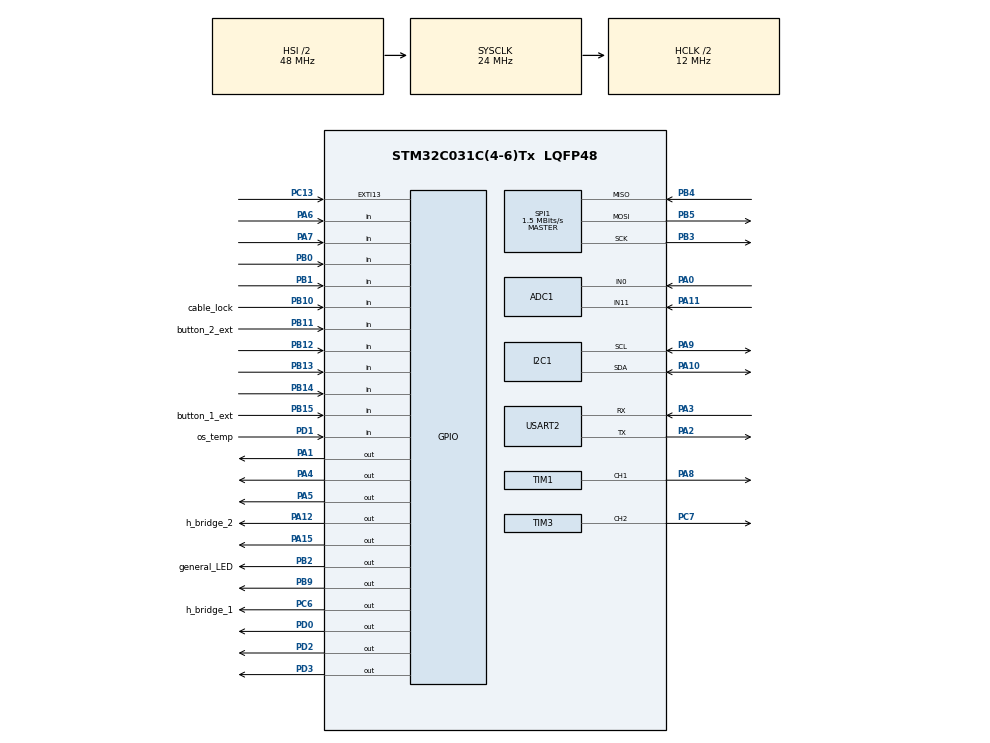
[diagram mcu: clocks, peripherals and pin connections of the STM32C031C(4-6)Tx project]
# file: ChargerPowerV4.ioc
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ADC1.ContinuousConvMode=ENABLE
ADC1.DMAContinuousRequests=ENABLE
ADC1.NbrOfConversionFlag=0
ADC1.Overrun=ADC_OVR_DATA_OVERWRITTEN
ADC1.SamplingTimeCommon1=ADC_SAMPLETIME_160CYCLES_5
ADC1.SelectedChannel=ADC_CHANNEL_0|ADC_CHANNEL_11
ADC1.Sequencer=NOT_FULLY_CONFIGURABLE
ADC1.master=1
Dma.ADC1.0.Direction=DMA_PERIPH_TO_MEMORY
Dma.ADC1.0.EventEnable=DISABLE
Dma.ADC1.0.Instance=DMA1_Channel1
Dma.ADC1.0.MemDataAlignment=DMA_MDATAALIGN_HALFWORD
Dma.ADC1.0.MemInc=DMA_MINC_ENABLE
Dma.ADC1.0.Mode=DMA_CIRCULAR
Dma.ADC1.0.PeriphDataAlignment=DMA_PDATAALIGN_HALFWORD
Dma.ADC1.0.PeriphInc=DMA_PINC_DISABLE
Dma.ADC1.0.Polarity=HAL_DMAMUX_REQ_GEN_RISING
Dma.ADC1.0.Priority=DMA_PRIORITY_MEDIUM
Dma.ADC1.0.RequestNumber=1
Dma.ADC1.0.SignalID=NONE
Dma.ADC1.0.SyncEnable=DISABLE
Dma.ADC1.0.SyncPolarity=HAL_DMAMUX_SYNC_NO_EVENT
Dma.ADC1.0.SyncRequestNumber=1
Dma.ADC1.0.SyncSignalID=NONE
Dma.Request0=ADC1
Dma.Request1=USART2_RX
Dma.Request2=USART2_TX
Dma.USART2_RX.1.Direction=DMA_PERIPH_TO_MEMORY
Dma.USART2_RX.1.EventEnable=DISABLE
Dma.USART2_RX.1.Instance=DMA1_Channel2
Dma.USART2_RX.1.MemDataAlignment=DMA_MDATAALIGN_BYTE
Dma.USART2_RX.1.MemInc=DMA_MINC_ENABLE
Dma.USART2_RX.1.Mode=DMA_CIRCULAR
Dma.USART2_RX.1.PeriphDataAlignment=DMA_PDATAALIGN_BYTE
Dma.USART2_RX.1.PeriphInc=DMA_PINC_DISABLE
Dma.USART2_RX.1.Polarity=HAL_DMAMUX_REQ_GEN_RISING
Dma.USART2_RX.1.Priority=DMA_PRIORITY_HIGH
Dma.USART2_RX.1.RequestNumber=1
Dma.USART2_RX.1.SignalID=NONE
Dma.USART2_RX.1.SyncEnable=DISABLE
Dma.USART2_RX.1.SyncPolarity=HAL_DMAMUX_SYNC_NO_EVENT
Dma.USART2_RX.1.SyncRequestNumber=1
Dma.USART2_RX.1.SyncSignalID=NONE
Dma.USART2_TX.2.Direction=DMA_MEMORY_TO_PERIPH
Dma.USART2_TX.2.EventEnable=DISABLE
Dma.USART2_TX.2.Instance=DMA1_Channel3
Dma.USART2_TX.2.MemDataAlignment=DMA_MDATAALIGN_BYTE
Dma.USART2_TX.2.MemInc=DMA_MINC_ENABLE
Dma.USART2_TX.2.Mode=DMA_NORMAL
Dma.USART2_TX.2.PeriphDataAlignment=DMA_PDATAALIGN_BYTE
Dma.USART2_TX.2.PeriphInc=DMA_PINC_DISABLE
Dma.USART2_TX.2.Polarity=HAL_DMAMUX_REQ_GEN_RISING
Dma.USART2_TX.2.Priority=DMA_PRIORITY_LOW
Dma.USART2_TX.2.RequestNumber=1
Dma.USART2_TX.2.SignalID=NONE
Dma.USART2_TX.2.SyncEnable=DISABLE
Dma.USART2_TX.2.SyncPolarity=HAL_DMAMUX_SYNC_NO_EVENT
Dma.USART2_TX.2.SyncRequestNumber=1
Dma.USART2_TX.2.SyncSignalID=NONE
I2C1.Timing=0x0020171D
IWDG.Prescaler=IWDG_PRESCALER_64
Mcu.Family=STM32C0
Mcu.Name=STM32C031C(4-6)Tx
Mcu.Package=LQFP48
NVIC.DMA1_Channel1_IRQn=true\:1\:0\:true\:false\:true\:false\:true\:true
NVIC.DMA1_Channel2_3_IRQn=true\:1\:0\:true\:false\:true\:false\:true\:true
NVIC.EXTI4_15_IRQn=true\:0\:0\:false\:false\:true\:true\:true\:true
NVIC.TIM17_IRQn=true\:2\:0\:true\:false\:true\:true\:true\:true
NVIC.USART2_IRQn=true\:1\:0\:true\:false\:true\:true\:true\:true
PA0.Mode=IN0
PA0.Signal=ADC1_IN0
PA1.Signal=GPIO_Output
PA10.Mode=I2C
PA10.Signal=I2C1_SDA
PA11\ [PA9].Mode=IN11
PA11\ [PA9].Signal=ADC1_IN11
PA12\ [PA10].GPIO_Label=h_bridge_2
PA12\ [PA10].Signal=GPIO_Output
PA13.Mode=Serial_Wire
PA13.Signal=DEBUG_SWDIO
PA14-BOOT0.Mode=Serial_Wire
PA14-BOOT0.Signal=DEBUG_SWCLK
PA15.Signal=GPIO_Output
PA2.Mode=Asynchronous
PA2.Signal=USART2_TX
PA3.Mode=Asynchronous
PA3.Signal=USART2_RX
PA4.Signal=GPIO_Output
PA5.Signal=GPIO_Output
PA6.GPIO_PuPd=GPIO_PULLDOWN
PA6.Signal=GPIO_Input
PA7.GPIO_PuPd=GPIO_PULLDOWN
PA7.Signal=GPIO_Input
PA8.Signal=S_TIM1_CH1
PA9.Mode=I2C
PA9.Signal=I2C1_SCL
PB0.GPIO_PuPd=GPIO_PULLDOWN
PB0.Signal=GPIO_Input
PB1.GPIO_PuPd=GPIO_PULLDOWN
PB1.Signal=GPIO_Input
PB10.GPIO_Label=cable_lock
PB10.Signal=GPIO_Input
PB11.GPIO_Label=button_2_ext
PB11.Signal=GPIO_Input
PB12.Signal=GPIO_Input
PB13.Signal=GPIO_Input
PB14.Signal=GPIO_Input
PB15.GPIO_Label=button_1_ext
PB15.Signal=GPIO_Input
PB2.GPIO_Label=general_LED
PB2.Signal=GPIO_Output
PB3.Mode=Full_Duplex_Master
PB3.Signal=SPI1_SCK
PB4.Mode=Full_Duplex_Master
PB4.Signal=SPI1_MISO
PB5.Mode=Full_Duplex_Master
PB5.Signal=SPI1_MOSI
PB9.Signal=GPIO_Output
PC13.Signal=GPXTI13
PC14-OSCX_IN\ (PC14).Mode=HSE-External-Oscillator-REMAPPED
PC14-OSCX_IN\ (PC14).Signal=RCC_OSCX_IN
PC15-OSCX_OUT\ (PC15).Mode=HSE-External-Oscillator-REMAPPED
PC15-OSCX_OUT\ (PC15).Signal=RCC_OSCX_OUT
PC6.GPIO_Label=h_bridge_1
PC6.Signal=GPIO_Output
PC7.Signal=S_TIM3_CH2
PD0.Signal=GPIO_Output
PD1.GPIO_Label=os_temp
PD1.GPIO_PuPd=GPIO_PULLUP
PD1.Signal=GPIO_Input
PD2.Signal=GPIO_Output
PD3.Signal=GPIO_Output
ProjectManager.HeapSize=0x200
ProjectManager.StackSize=0x400
ProjectManager.TargetToolchain=STM32CubeIDE
RCC.ADCFreq_Value=24000000
RCC.AHBCLKDivider=RCC_HCLK_DIV2
RCC.AHBFreq_Value=12000000
RCC.APB1CLKDivider=RCC_APB1_DIV2
RCC.CortexFreq_Value=12000000
RCC.EXTERNAL_CLOCK_VALUE=12288000
RCC.HCLKFreq_Value=12000000
RCC.HSE_VALUE=48000000
RCC.HSISYSCLKDivider=RCC_HSI_DIV2
RCC.HSI_VALUE=48000000
RCC.LSE_VALUE=32768
RCC.RCC_MCO1Source=RCC_MCO1SOURCE_HSE
RCC.RCC_MCODiv=RCC_MCODIV_128
RCC.SYSCLKFreq_VALUE=24000000
SH.S_TIM1_CH1.0=TIM1_CH1,PWM Generation1 CH1
SH.S_TIM3_CH2.0=TIM3_CH2,PWM Generation2 CH2
SPI1.BaudRatePrescaler=SPI_BAUDRATEPRESCALER_16
SPI1.CLKPhase=SPI_PHASE_2EDGE
SPI1.CLKPolarity=SPI_POLARITY_HIGH
SPI1.CalculateBaudRate=1.5 MBits/s
SPI1.Direction=SPI_DIRECTION_2LINES
SPI1.Mode=SPI_MODE_MASTER
SPI1.VirtualType=VM_MASTER
TIM1.Channel-PWM\ Generation1\ CH1=TIM_CHANNEL_1
TIM1.Period=999
TIM1.Prescaler=11
TIM14.Channel=TIM_CHANNEL_1
TIM17.Channel=TIM_CHANNEL_1
TIM17.Period=99
TIM17.Prescaler=11999
TIM3.Channel-PWM\ Generation2\ CH2=TIM_CHANNEL_2
TIM3.Period=599
TIM3.Prescaler=0
USART2.VirtualMode-Asynchronous=VM_ASYNC
VP_IWDG_VS_IWDG.Mode=IWDG_Activate
VP_TIM14_VS_ClockSourceINT.Mode=Enable_Timer
VP_TIM14_VS_no_output1.Mode=Output Compare1 No Output
VP_TIM17_VS_ClockSourceINT.Mode=Enable_Timer
VP_TIM17_VS_no_output1.Mode=Output Compare1 No Output
VP_TIM1_VS_ClockSourceINT.Mode=Internal
board=custom

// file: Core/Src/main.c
/* USER CODE BEGIN Header */
/**
  ******************************************************************************
  * @file           : main.c
  * @brief          : Main program body
  ******************************************************************************
  * @attention
  *
  * Copyright (c) 2025 STMicroelectronics.
  * All rights reserved.
  *
  * This software is licensed under terms that can be found in the LICENSE file
  * in the root directory of this software component.
  * If no LICENSE file comes with this software, it is provided AS-IS.
  *
  *
  ******************************************************************************
  */
/* USER CODE END Header */
#include "main.h"
#include "adc.h"
#include "dma.h"
#include "i2c.h"
#include "iwdg.h"
#include "spi.h"
#include "tim.h"
#include "usart.h"
#include "gpio.h"

/* USER CODE BEGIN Includes */
#include "app_config.h"
#include "board_io.h"
#include "cp.h"
#include "comms_manager.h"
#include "energy_meter.h"
#include "app_manager.h"
#include <stdbool.h>
#include "stm32c0xx_it.h"

/* USER CODE END Includes */

/* USER CODE BEGIN PD */
#define WORK_BUFFER_SIZE 256

/* Relay-coil economizer bench test (temporary, see USER CODE 2).
 * 1 = runs once at boot, before the main loop, to tune the RELAY_* limits
 * in board_io.h. Keep at 0 in anything pushed/flashed for normal use.
 * The relay feedback is NOT read: you watch the relay itself (release
 * click, or contact continuity with a multimeter) while the debugger prints
 * each step. NO vehicle connected: the output is live whenever the relays
 * close with mains on the line side. */
#define RELAY_COIL_TEST              0
#define RELAY_TEST_STEP_PERMILLE     10      /* Hold sweep step: 1.0% duty */
#define RELAY_TEST_HOLD_MIN_PERMILLE 20      /* Hold sweep stops at 2.0% */
#define RELAY_TEST_DWELL_MS          2000    /* Per step: time to notice the click and read the step */
/* USER CODE END PD */

/* USER CODE BEGIN PV */
volatile uint8_t timer_seconds = 0;

extern volatile uint8_t RCD_Fault;

/* RCD Debounce Variables (non-static: shared with ISR in stm32c0xx_it.c) */
volatile uint32_t rcd_trigger_time  = 0;
volatile bool     rcd_pending_check = false;

STATE_MACHINE currentState = IDLE;

/* --- PC7 / TIM3_CH2 — relay-coil MOSFET economizer test ---
 * Edit this value live in the debugger (Watch: right-click -> Set Value,
 * or Debug Console: -exec set var test_mosfet_duty_permille = 300) to see
 * the effect on the relay/MOSFET without recompiling.
 * Range: 0-1000 (0.0% - 100.0%). TIM3 runs at 20 kHz (above audible, keeps
 * the coil current smooth) and is no longer shared with the CP, which is on
 * TIM1_CH1 at its own 1 kHz -- the two frequencies are independent.
 */

/* Cable lock actuator feedback — volatile so it survives -Og and can be
 * watched with Live Watch/Live Expressions without halting at a breakpoint
 * (a breakpoint stops the whole CPU, so the H-bridge would stop moving too). */
volatile ACTUATOR_STATE actuator_state = OPEN;

#if ENABLE_PP_SENSE
/* Proximity Pilot (PP) line voltage, PA11/ADC1_IN11 -- see PP_Read_mV() in cp.c */
volatile uint16_t test_pp_mV = 0;
volatile uint8_t  test_pp_amps = 0;   /* 13/20/32/63, or 0 if no cable/unknown */
#endif /* ENABLE_PP_SENSE */

/* --- Relay feedback diagnostic (temporary) ---
 * Reads K1-K4 mirror contacts BEFORE commanding the relays, then again once
 * closed, then again once re-opened -- to isolate whether any relay
 * (K4 in particular) reads closed when it shouldn't (wiring/pull config on
 * RELAY_STATE_x). Runs once at boot, before the main loop. Inspect in the
 * debugger (Watch / Live Expressions). Remove once the wiring is confirmed.
 */
volatile bool diag_k1_before, diag_k2_before, diag_k3_before, diag_k4_before;
volatile bool diag_k1_closed, diag_k2_closed, diag_k3_closed, diag_k4_closed;
volatile bool diag_k1_after,  diag_k2_after,  diag_k3_after,  diag_k4_after;

#if RELAY_COIL_TEST
/* Economizer bench test progress -- printed live by the GDB dprintf on
 * Board_Set_Relay_Coil_Duty() (see the test in USER CODE 2) */
volatile uint8_t  test_relay_phase     = 0;  /* 1 hold sweep, 2 pull-in sweep, 3 done */
volatile uint16_t test_relay_pullin_ms = 0;  /* Pull-in pulse being tried (phase 2), ms */
#endif /* RELAY_COIL_TEST */

/* USER CODE END PV */

void SystemClock_Config(void);

int main(void)
{

  /* MCU Configuration--------------------------------------------------------*/

  /* Reset of all peripherals, Initializes the Flash interface and the Systick. */
  HAL_Init();

  /* Configure the system clock */
  SystemClock_Config();

  /* Initialize all configured peripherals */
  MX_GPIO_Init();
  MX_DMA_Init();
  MX_ADC1_Init();
  MX_SPI1_Init();
  MX_TIM3_Init();
  MX_USART2_UART_Init();
  MX_TIM14_Init();
  MX_TIM17_Init();
  //MX_IWDG_Init();
  MX_I2C1_Init();
  MX_TIM1_Init();
  /* USER CODE BEGIN 2 */

  HAL_TIM_PWM_Start(&htim1, TIM_CHANNEL_1);   /* CP, PA8 -- also sets TIM1's MOE, without which the advanced timer drives no output */
  HAL_TIM_PWM_Start(&htim3, TIM_CHANNEL_2);   /* Relay-coil economizer, PC7 */
  CP_ADC_Init();
  Comms_INIT();

  HAL_Delay(1000);
  HAL_TIM_Base_Start(&htim14);
  HAL_TIM_Base_Start_IT(&htim17);

  /* --- Hardware Reset for each ADE7953 (individual reset lines) --- */
  Board_ADE_Reset(ADE_DEVICE_1, CMD_ACTIVATE);
  Board_ADE_Reset(ADE_DEVICE_2, CMD_ACTIVATE);
  Board_ADE_Reset(ADE_DEVICE_3, CMD_ACTIVATE);
  HAL_Delay(15);
  Board_ADE_Reset(ADE_DEVICE_1, CMD_DEACTIVATE);
  Board_ADE_Reset(ADE_DEVICE_2, CMD_DEACTIVATE);
  Board_ADE_Reset(ADE_DEVICE_3, CMD_DEACTIVATE);
  HAL_Delay(100);
  Board_Set_SPI_CS(ADE_DEVICE_1, CMD_DEACTIVATE);
  Board_Set_SPI_CS(ADE_DEVICE_2, CMD_DEACTIVATE);
  Board_Set_SPI_CS(ADE_DEVICE_3, CMD_DEACTIVATE);
  ADE7953_INIT(ADE_DEVICE_1);
  ADE7953_INIT(ADE_DEVICE_2);
  ADE7953_INIT(ADE_DEVICE_3);

  ade7953_enable_reset_on_read(ADE_DEVICE_1);
  ade7953_enable_reset_on_read(ADE_DEVICE_2);
  ade7953_enable_reset_on_read(ADE_DEVICE_3);

  /* --- LM75B temperature sensor (I2C1: PA9 SCL / PA10 SDA, OS on PD1) ---
   * Well past the sensor's first ~100ms conversion by now (HAL_Delay above). */
  APP_Temp_Init();

#if RELAY_COIL_TEST
  /* --- Relay-coil economizer bench test (temporary) ---
   * No feedback is read: watch the relay while GDB prints each step.
   * 1) Hold sweep: pull in at 100% for RELAY_PULLIN_TIME_MS, then lower the
   *    hold duty from RELAY_HOLD_DUTY_PERMILLE down to
   *    RELAY_TEST_HOLD_MIN_PERMILLE, RELAY_TEST_DWELL_MS per step. The step
   *    at which the relay releases (click / continuity lost) is the
   *    drop-out duty.
   * 2) Pull-in sweep: from fully open, 100% pulses of increasing length,
   *    each followed by RELAY_HOLD_DUTY_PERMILLE. The shortest pulse after
   *    which the relay closes and stays closed is the minimum pull-in time.
   * Runs before the RCD/EXTI clear below, so relay-switching EMI picked up
   * by the RCD line during the test is discarded there. */
  {
    static const uint16_t pullin_ms[] = { 10, 20, 30, 50, 75, 100, 150 };

    /* 1) Hold sweep */
    test_relay_phase = 1;
    Board_Set_Relay_Coil_Duty(RELAY_PULLIN_DUTY_PERMILLE);
    HAL_Delay(RELAY_PULLIN_TIME_MS);
    for (uint16_t duty = RELAY_HOLD_DUTY_PERMILLE; duty >= RELAY_TEST_HOLD_MIN_PERMILLE; duty -= RELAY_TEST_STEP_PERMILLE) {
      Board_Set_Relay_Coil_Duty(duty);
      HAL_Delay(RELAY_TEST_DWELL_MS);
    }

    /* 2) Pull-in sweep, every attempt starting fully open */
    test_relay_phase = 2;
    for (uint8_t i = 0; i < sizeof(pullin_ms) / sizeof(pullin_ms[0]); i++) {
      test_relay_pullin_ms = pullin_ms[i];
      Board_Set_Relay_Coil_Duty(0);
      HAL_Delay(RELAY_TEST_DWELL_MS);
      Board_Set_Relay_Coil_Duty(RELAY_PULLIN_DUTY_PERMILLE);
      HAL_Delay(pullin_ms[i]);
      Board_Set_Relay_Coil_Duty(RELAY_HOLD_DUTY_PERMILLE);
      HAL_Delay(RELAY_TEST_DWELL_MS);
    }

    Board_Set_Relay_Coil_Duty(0);    /* never leave the relays energized */
    test_relay_phase = 3;
  }
#endif /* RELAY_COIL_TEST */

  /* Clear transient EXTI triggers that occur during power-on */
  RCD_Fault = 0;
  rcd_pending_check = false;
  __HAL_GPIO_EXTI_CLEAR_IT(GPIO_PIN_13);

  CP_SetLine_High();

  // /* --- Relay feedback diagnostic (temporary) --- */
  // Board_Set_Contactors(CMD_DEACTIVATE);   /* baseline: force open first */
  // HAL_Delay(100);
  // diag_k1_before = Board_Is_K1_Closed();
  // diag_k2_before = Board_Is_K2_Closed();
  // diag_k3_before = Board_Is_K3_Closed();
  // diag_k4_before = Board_Is_K4_Closed();

  // Board_Set_Contactors(CMD_ACTIVATE);     /* pull-in 150ms -> 30% hold, see board_io.c */
  // HAL_Delay(100);                          /* extra settling beyond the pull-in/hold above */
  // diag_k1_closed = Board_Is_K1_Closed();
  // diag_k2_closed = Board_Is_K2_Closed();
  // diag_k3_closed = Board_Is_K3_Closed();
  // diag_k4_closed = Board_Is_K4_Closed();

  // Board_Set_Contactors(CMD_DEACTIVATE);   /* open again -- don't leave energized */
  // HAL_Delay(300);                          /* let AC optocouplers discharge, same margin as APP_Verify_Relays_Open() */
  // diag_k1_after = Board_Is_K1_Closed();
  // diag_k2_after = Board_Is_K2_Closed();
  // diag_k3_after = Board_Is_K3_Closed();
  // diag_k4_after = Board_Is_K4_Closed();

  /* USER CODE END 2 */

  /* Infinite loop */
  /* USER CODE BEGIN WHILE */

  /* -----------------------------------------------------------
   * MAIN APPLICATION LOOP
   *
   * Architecture: Task-Based Cyclic Executive
   * 1. Comms Task: Handles RS485/UART data intake and command dispatching.
   * 2. State Machine: Manages EVSE logic (CP signaling, Contactor control).
   * 3. Background Tasks: Energy metering, Safety monitoring.
   *
   *
   * ----------------------------------------------------------- */

  while (1)
  {

      // 0. RCD Debounce Validation
      if (rcd_pending_check) {
          if ((HAL_GetTick() - rcd_trigger_time) >= RCD_DEBOUNCE_MS) {
              /* Debounce window elapsed — re-read the physical pin */
              if (HAL_GPIO_ReadPin(GPIOC, GPIO_PIN_13) == GPIO_PIN_SET) {
                  /* Pin still HIGH after 30ms → confirmed real RCD fault */
                  RCD_Fault = 1;
              }
              rcd_pending_check = false;
          }
      }

      /* RCD_Fault (once confirmed above) is handled inside APP_MAIN() itself,
       * with top priority over any state -- it opens the contactors, unlocks
       * the cable once relays are confirmed open, and transitions to
       * FAULT_RCD. No need to react to it here too. */

      HAL_Delay(100);

      // --- Normal operation (disabled during bring-up test) ---
       APP_Comms_Task();
       APP_MAIN(&currentState);
       APP_Energy_Task();
       APP_Temp_Task();

  //    HAL_IWDG_Refresh(&hiwdg);

  }

    /* USER CODE END WHILE */

}

void SystemClock_Config(void)
{
  RCC_OscInitTypeDef RCC_OscInitStruct = {0};
  RCC_ClkInitTypeDef RCC_ClkInitStruct = {0};

  __HAL_FLASH_SET_LATENCY(FLASH_LATENCY_0);

  /** Initializes the RCC Oscillators according to the specified parameters
  * in the RCC_OscInitTypeDef structure.
  */
  RCC_OscInitStruct.OscillatorType = RCC_OSCILLATORTYPE_HSI|RCC_OSCILLATORTYPE_LSI;
  RCC_OscInitStruct.HSIState = RCC_HSI_ON;
  RCC_OscInitStruct.HSIDiv = RCC_HSI_DIV2;
  RCC_OscInitStruct.HSICalibrationValue = RCC_HSICALIBRATION_DEFAULT;
  RCC_OscInitStruct.LSIState = RCC_LSI_ON;
  if (HAL_RCC_OscConfig(&RCC_OscInitStruct) != HAL_OK)
  {
    Error_Handler();
  }

  /** Initializes the CPU, AHB and APB buses clocks
  */
  RCC_ClkInitStruct.ClockType = RCC_CLOCKTYPE_HCLK|RCC_CLOCKTYPE_SYSCLK
                              |RCC_CLOCKTYPE_PCLK1;
  RCC_ClkInitStruct.SYSCLKSource = RCC_SYSCLKSOURCE_HSI;
  RCC_ClkInitStruct.SYSCLKDivider = RCC_SYSCLK_DIV1;
  RCC_ClkInitStruct.AHBCLKDivider = RCC_HCLK_DIV2;
  RCC_ClkInitStruct.APB1CLKDivider = RCC_APB1_DIV2;

  if (HAL_RCC_ClockConfig(&RCC_ClkInitStruct, FLASH_LATENCY_0) != HAL_OK)
  {
    Error_Handler();
  }
}

/* USER CODE BEGIN 4 */
/**
 * @brief  EXTI Callback — RCD Fault Trigger (Debounced)
 * @note   Only records the timestamp of the trigger. Actual fault confirmation
 *         happens in the main loop after RCD_DEBOUNCE_MS has elapsed and the
 *         pin is re-read to filter out EMI noise spikes.
 */
/*
void HAL_GPIO_EXTI_Callback(uint16_t GPIO_Pin)
{
    if (GPIO_Pin == GPIO_PIN_13) {
    	RCD_Fault = 1;
    }
}
*/
void HAL_TIM_PeriodElapsedCallback(TIM_HandleTypeDef *htim) {

    if (htim->Instance == TIM17) {
        // Esta flag dispara a cada 1 segundo (útil para RMS rápido/Proteção)
    	APP_Voltage_Flag_Set();

        timer_seconds++;
        if (timer_seconds >= 100) {
            timer_seconds = 0;
            // Esta flag dispara a cada 10 segundos (para Energia)
            APP_Energy_Flag_Set();
        }
    }
}

/* USER CODE END 4 */

void Error_Handler(void)
{
  __disable_irq();
  while (1)
  {
  }
}
